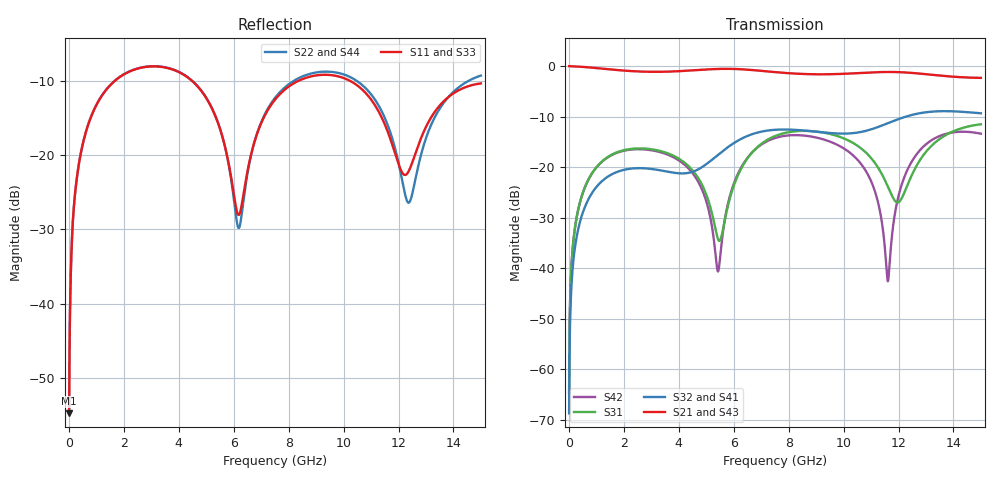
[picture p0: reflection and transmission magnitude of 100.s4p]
! Created with skrf 1.8.0 (http://scikit-rf.org).
# GHz S RI R 50.0
!freq ReS11 ImS11 ReS12 ImS12 ReS13 ImS13
! ReS14 ImS14
! ReS21 ImS21 ReS22 ImS22 ReS23 ImS23
! ReS24 ImS24
! ReS31 ImS31 ReS32 ImS32 ReS33 ImS33
! ReS34 ImS34
! ReS41 ImS41 ReS42 ImS42 ReS43 ImS43
! ReS44 ImS44
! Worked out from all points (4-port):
!   2499 points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, 5 MHz to 15 GHz, reference 50 ohm
!   strongest paths, dB at 5 MHz, 3.476 GHz, 7.19 GHz, 11.1 GHz, 15 GHz:
!     S21: 0.0, -1.1, -1.0, -1.2, -2.3
!     S43: 0.0, -1.1, -1.0, -1.2, -2.4
!     S32: -68.7, -20.8, -12.8, -12.4, -9.3
!     S41: -68.7, -20.9, -12.8, -12.4, -9.4
!     S31: -64.8, -17.0, -14.7, -18.9, -11.5
!     S42: -64.8, -17.3, -14.9, -24.1, -13.4
!   lowest |S11| = -54.8 dB at 5 MHz (marker M1), VSWR 1.00, Z = 50.1 + j0.111 ohm
!   |S11| at or under -10 dB: start of sweep to 1.676 GHz; 4.472 GHz to 8.368 GHz (3.896 GHz wide, 60.7 % of centre); 10.22 GHz to end of sweep
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0.005  0.00146 0.00111  0.9985 -0.00283  7.24e-05 0.000572  -7.04e-05 -0.000359
       0.9985 -0.00283  0.00146 0.00111  -7.04e-05 -0.000359  7.23e-05 0.000572
       7.24e-05 0.000572  -7.04e-05 -0.000359  0.00146 0.00111  0.9985 -0.00283
       -7.04e-05 -0.000359  7.23e-05 0.000572  0.9985 -0.00283  0.00146 0.00111
0.3126303  0.0196 0.0735  0.9733 -0.1771  0.00892 0.0344  -0.00732 -0.0215
           0.9733 -0.1771  0.0197 0.0735  -0.00733 -0.0215  0.00863 0.0344
           0.00892 0.0344  -0.00733 -0.0215  0.0196 0.0735  0.9733 -0.1771
           -0.00732 -0.0215  0.00863 0.0344  0.9733 -0.1771  0.0197 0.0735
1.519383  0.2275 0.1911  0.6357 -0.6739  0.112 0.0682  -0.0812 -0.0199
          0.6357 -0.6739  0.2287 0.1904  -0.0814 -0.0198  0.108 0.0725
          0.112 0.0682  -0.0814 -0.0198  0.2275 0.1911  0.6357 -0.6739
          -0.0812 -0.0199  0.108 0.0725  0.6357 -0.6739  0.2288 0.1904
5.964985  0.0413 -0.0442  -0.924 -0.1611  -0.0112 0.0603  -0.0292 0.1677
          -0.924 -0.1611  0.034 -0.0461  -0.026 0.1682  -0.0105 0.0634
          -0.0112 0.0603  -0.026 0.1682  0.041 -0.0446  -0.924 -0.161
          -0.0292 0.1677  -0.0105 0.0634  -0.924 -0.161  0.0344 -0.046
9.654023  0.3395 -0.0458  0.0304 0.8323  0.1652 -0.1262  0.1985 -0.0764
          0.0304 0.8323  0.3553 -0.0628  0.1989 -0.0847  0.1656 -0.0471
          0.1652 -0.1262  0.1989 -0.0847  0.3395 -0.0405  0.0309 0.8317
          0.1985 -0.0764  0.1656 -0.0471  0.0309 0.8317  0.3577 -0.0679
11.61109  0.1057 -0.0963  0.7424 0.4629  -0.0435 -0.0474  0.1411 -0.2323
          0.7424 0.4629  0.0932 -0.1281  0.1297 -0.2392  0.00715 0.00197
          -0.0435 -0.0474  0.1297 -0.2392  0.113 -0.0934  0.7422 0.4623
          0.1411 -0.2323  0.00715 0.00197  0.7422 0.4623  0.0885 -0.133
15  0.3011 0.0334  0.3398 -0.6845  0.2474 -0.097  -0.3296 -0.0713
    0.3398 -0.6845  0.338 0.055  -0.3367 -0.0559  0.2136 0.0159
    0.2474 -0.097  -0.3367 -0.0559  0.3001 0.0346  0.3377 -0.684
    -0.3296 -0.0713  0.2136 0.0159  0.3377 -0.684  0.345 0.057
